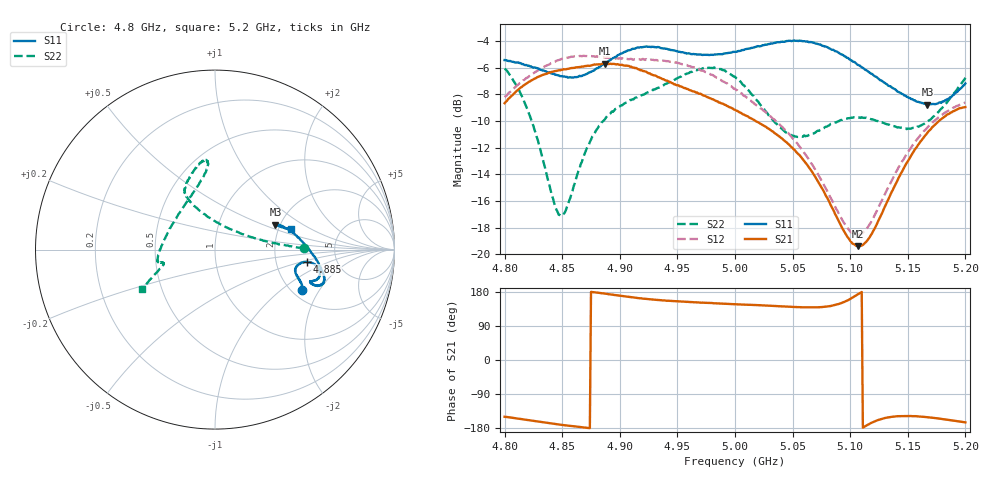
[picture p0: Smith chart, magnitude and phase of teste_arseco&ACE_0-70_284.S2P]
! Network Analyzer HP8722D
! Hewlett-Packard
! Data name: Linha & Wilkinson
! Saver's name: Rodrigo Anjos
! Comments: Teste da utilização de aquisição
! continua pelo VNA HP8722D
! Time and date: 8/5/2025 15:07
!  Frequency  S11  S21  S12  S22
# HZ  S  MA R 50
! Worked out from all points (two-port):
!   401 points, 4.8 GHz to 5.2 GHz, reference 50 ohm
!   highest |S21| = -5.69 dB at 4.887 GHz (marker M1); lowest = -19.4 dB at 5.107 GHz (marker M2)
!   |S21| within 3 dB of the highest: start of sweep to 4.989 GHz
!   lowest |S11| = -8.8 dB at 5.167 GHz (marker M3), VSWR 2.15, Z = 94.5 + j30.3 ohm
!   |S11| at or under -10 dB: nowhere
!   |S22| runs from -17.1 to -6.0 dB; largest |S21 - S12| = 1.1
!   S11 on the Smith chart (normalised r, x): 4.8 GHz: 2.25, -1.43; 4.885 GHz: 3.00, -0.56; 5.2 GHz: 2.34, +0.65
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4.8e9  0.5353 -25.1  0.3687 -149.8  0.3887 9.3  0.4967 0.9
4.811e9  0.524 -22.4  0.4116 -154.3  0.4308 7.6  0.4237 2.6
4.821e9  0.5099 -20.6  0.4433 -158.8  0.4645 6.1  0.3382 6.0
4.847e9  0.4691 -16.4  0.4904 -170.2  0.5353 2.1  0.1406 55.4
4.853e9  0.4626 -14.9  0.494 -172.4  0.5444 1.0  0.1456 79.8
4.867e9  0.4664 -10.8  0.506 -177.5  0.5533 -1.0  0.2218 110.0
4.885e9  0.5145 -7.7  0.519 176.1  0.5486 -2.3  0.3146 117.6
4.887e9  0.519 -7.7  0.5196 175.1  0.5471 -2.1  0.3205 118.3
4.913e9  0.5909 -11.2  0.4993 164.5  0.5394 -1.6  0.3856 115.5
4.934e9  0.5984 -15.7  0.4614 158.0  0.535 -2.5  0.4216 110.0
4.974e9  0.5605 -18.7  0.3927 150.9  0.4831 -6.0  0.4968 97.2
5e9  0.5743 -19.3  0.3483 147.0  0.4178 -6.0  0.4636 95.4
5.044e9  0.6288 -17.7  0.2643 141.0  0.291 2.2  0.2867 131.6
5.067e9  0.6234 -13.4  0.2036 138.8  0.2172 9.1  0.2833 164.9
5.095e9  0.5534 -3.9  0.1213 153.5  0.1303 34.2  0.3214 -172.6
5.107e9  0.5128 1.6  0.1072 174.0  0.118 57.2  0.3255 -168.5
5.117e9  0.4798 6.7  0.116 -168.0  0.1298 76.6  0.3226 -167.0
5.134e9  0.4276 14.7  0.1638 -150.8  0.1817 94.8  0.306 -166.1
5.151e9  0.3864 20.6  0.2272 -147.8  0.245 100.3  0.2962 -165.1
5.167e9  0.3644 22.4  0.2852 -151.0  0.2989 101.3  0.3149 -161.9
5.183e9  0.3792 20.1  0.3307 -157.1  0.3413 101.3  0.3668 -157.3
5.2e9  0.4371 14.9  0.3565 -164.5  0.3709 101.6  0.4594 -151.6
